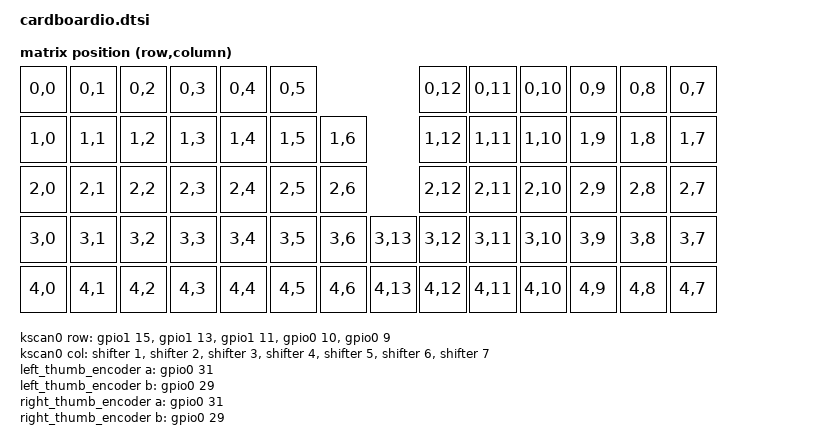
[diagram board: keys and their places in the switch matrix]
/*
 * Copyright (c) 2020 The ZMK Contributors
 *
 * SPDX-License-Identifier: MIT
 */

#include <dt-bindings/zmk/matrix_transform.h>

&pinctrl {
    spi0_default: spi0_default {
        group1 {
            psels = <NRF_PSEL(SPIM_SCK, 0, 17)>,
                <NRF_PSEL(SPIM_MOSI, 0, 20)>,
                <NRF_PSEL(SPIM_MISO, 0, 222)>;
        };
    };
    spi0_sleep: spi0_sleep {
        group1 {
            psels = <NRF_PSEL(SPIM_SCK, 0, 17)>,
                <NRF_PSEL(SPIM_MOSI, 0, 20)>,
                <NRF_PSEL(SPIM_MISO, 0, 22)>;
            low-power-enable;
        };
    };
}

level_shifter_spi: &spi0 {
    compatible = "nordic,nrf-spim";
    pinctrl-0 = <&spi0_default>;
    pinctrl-1 = <&spi0_sleep>;
    pinctrl-names = "default", "sleep";
	cs-gpios = <&gpio0 24 GPIO_ACTIVE_LOW>;
	shifter: 595@0 {
		compatible = "zmk,gpio-595";
		status = "okay";
		gpio-controller;
		spi-max-frequency = <200000>;
		reg = <0>;
		label = "COLUMNS_SHIFT_REGISTER";
		#gpio-cells = <2>;
		ngpios = <8>;
	};
};

/ {
    chosen {
        zmk,kscan = &kscan0;
        zmk,matrix_transform = &default_transform;
    };

    default_transform: keymap_transform_0 {
        compatible = "zmk,matrix-transform";
        columns = <14>;
        rows = <5>;
        map = <
RC(0,0) RC(0,1) RC(0,2) RC(0,3) RC(0,4) RC(0,5)                                      RC(0,12) RC(0,11) RC(0,10) RC(0,9) RC(0,8) RC(0,7)
RC(1,0) RC(1,1) RC(1,2) RC(1,3) RC(1,4) RC(1,5)         RC(1,6)                      RC(1,12) RC(1,11) RC(1,10) RC(1,9) RC(1,8) RC(1,7)
RC(2,0) RC(2,1) RC(2,2) RC(2,3) RC(2,4) RC(2,5) RC(2,6)                              RC(2,12) RC(2,11) RC(2,10) RC(2,9) RC(2,8) RC(2,7)
RC(3,0) RC(3,1) RC(3,2) RC(3,3) RC(3,4) RC(3,5)         RC(3,6)    RC(3,13)          RC(3,12) RC(3,11) RC(3,10) RC(3,9) RC(3,8) RC(3,7)
RC(4,0) RC(4,1) RC(4,2)     RC(4,3)     RC(4,4) RC(4,5) RC(4,6)    RC(4,13) RC(4,12) RC(4,11)     RC(4,10)      RC(4,9) RC(4,8) RC(4,7)
        >;
    };

    kscan0: kscan {
        compatible = "zmk,kscan-gpio-matrix";
        label = "KSCAN";

        diode-direction = "col2row";

        row-gpios
            = <&gpio1 15 (GPIO_ACTIVE_HIGH | GPIO_PULL_DOWN)>
            , <&gpio1 13 (GPIO_ACTIVE_HIGH | GPIO_PULL_DOWN)>
            , <&gpio1 11 (GPIO_ACTIVE_HIGH | GPIO_PULL_DOWN)>
            , <&gpio0 10 (GPIO_ACTIVE_HIGH | GPIO_PULL_DOWN)>
            , <&gpio0 9 (GPIO_ACTIVE_HIGH | GPIO_PULL_DOWN)>
            ;

        col-gpios
            = <&shifter 1 (GPIO_ACTIVE_HIGH)>
            , <&shifter 2 (GPIO_ACTIVE_HIGH)>
            , <&shifter 3 (GPIO_ACTIVE_HIGH)>
            , <&shifter 4 (GPIO_ACTIVE_HIGH)>
            , <&shifter 5 (GPIO_ACTIVE_HIGH)>
            , <&shifter 6 (GPIO_ACTIVE_HIGH)>
            , <&shifter 7 (GPIO_ACTIVE_HIGH)>
            ;
    };

    left_thumb_encoder: encoder_left_thumb {
        compatible = "alps,ec11";
        label = "LEFT_THUMB_ENCODER";
        a-gpios = <&gpio0 31 (GPIO_ACTIVE_HIGH | GPIO_PULL_UP)>;
        b-gpios = <&gpio0 29 (GPIO_ACTIVE_HIGH | GPIO_PULL_UP)>;
        steps = <80>;
        status = "disabled";
    };

    right_thumb_encoder: encoder_right_thumb {
        compatible = "alps,ec11";
        label = "RIGHT_THUMB_ENCODER";
        a-gpios = <&gpio0 31 (GPIO_ACTIVE_HIGH | GPIO_PULL_UP)>;
        b-gpios = <&gpio0 29 (GPIO_ACTIVE_HIGH | GPIO_PULL_UP)>;
        steps = <80>;
        status = "disabled";
    };

    lower_encoder: encoder_lower {
        compatible = "alps,ec11";
        label = "LOWER_ENCODER";
        a-gpios = <&gpio0 29 (GPIO_ACTIVE_HIGH | GPIO_PULL_UP)>;
        b-gpios = <&gpio0 2 (GPIO_ACTIVE_HIGH | GPIO_PULL_UP)>;
        steps = <80>;
        status = "disabled";
    };

    upper_encoder: encoder_upper {
        compatible = "alps,ec11";
        label = "UPPER_ENCODER";
        a-gpios = <&gpio0 31 (GPIO_ACTIVE_HIGH | GPIO_PULL_UP)>;
        b-gpios = <&gpio0 2 (GPIO_ACTIVE_HIGH | GPIO_PULL_UP)>;
        steps = <80>;
        status = "disabled";
    };

    sensors {
        compatible = "zmk,keymap-sensors";
        sensors = <&upper_encoder &lower_encoder &left_thumb_encoder &right_thumb_encoder>;
    };
};

